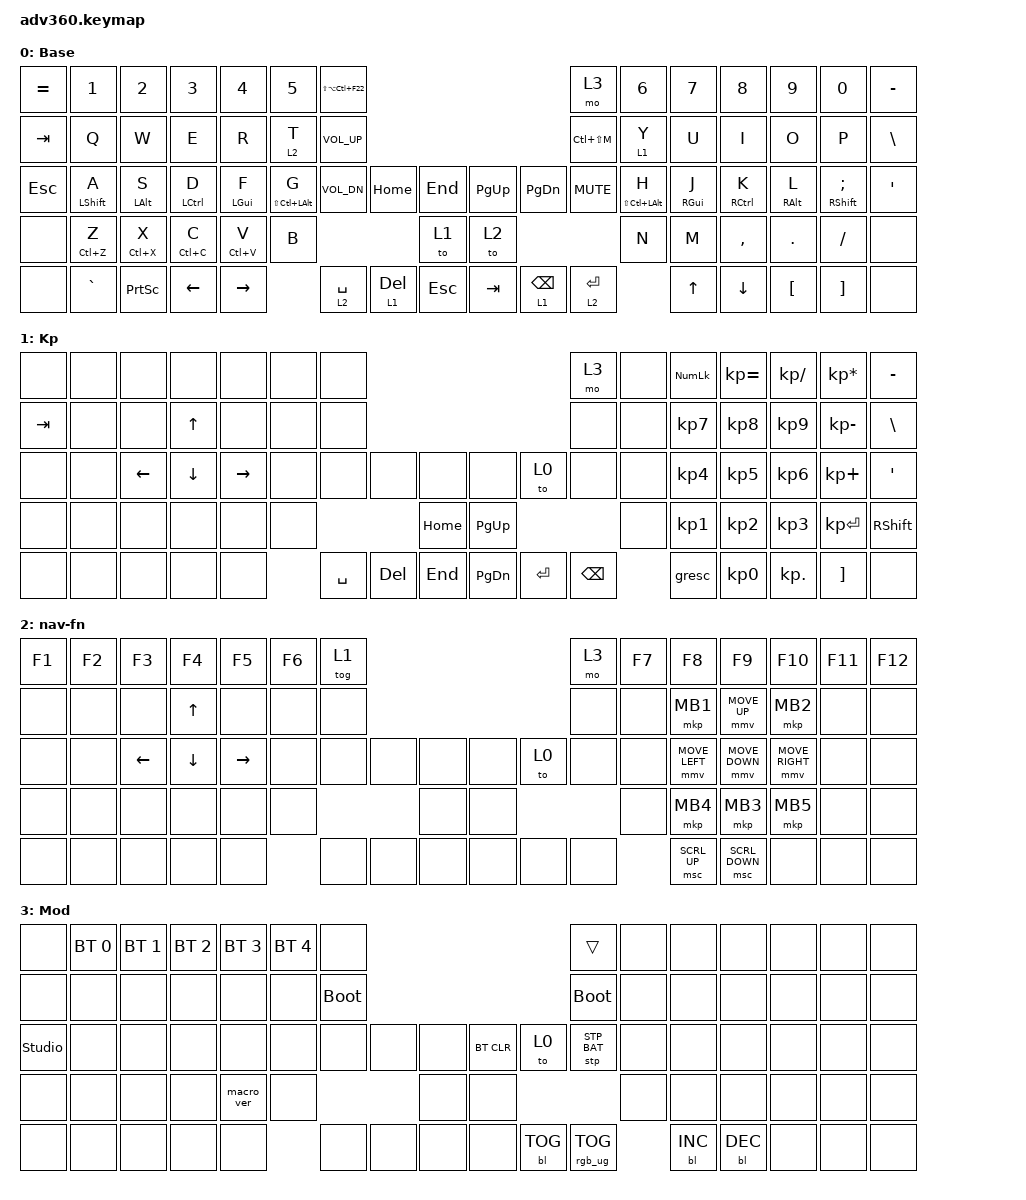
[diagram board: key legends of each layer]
#include <dt-bindings/zmk/stp.h>
#include <behaviors.dtsi>
#include <dt-bindings/zmk/backlight.h>
#include <dt-bindings/zmk/bt.h>
#include <dt-bindings/zmk/keys.h>
#include <dt-bindings/zmk/pointing.h>
#include <dt-bindings/zmk/rgb.h>

#define BASE    0
#define KEYPAD  1
#define NAV     2
#define MOD     3
#define GAMING  4
#define TT_BASE   200
#define TT_ALT    250
#define TT_PASTE  425
#define QT        175
#define MEH LS(LC(LALT))

/ {
    behaviors {
        #include "macros.dtsi"
        #include "version.dtsi"

        hm: homerow_mods {
            compatible = "zmk,behavior-hold-tap";
            #binding-cells = <2>;
            tapping-term-ms = <TT_BASE>;
            quick-tap-ms = <QT>;
            flavor = "tap-preferred";
            bindings = <&kp>, <&kp>;
        };

        hma: homerow_mods_alt {
            compatible = "zmk,behavior-hold-tap";
            #binding-cells = <2>;
            tapping-term-ms = <TT_ALT>;
            quick-tap-ms = <QT>;
            flavor = "tap-preferred";
            bindings = <&kp>, <&kp>;
        };

        hcp: clipboard_holds {
            compatible = "zmk,behavior-hold-tap";
            #binding-cells = <2>;
            tapping-term-ms = <TT_BASE>;
            quick-tap-ms = <QT>;
            flavor = "tap-preferred";
            bindings = <&kp>, <&kp>;
        };

        hcv: clipboard_paste {
            compatible = "zmk,behavior-hold-tap";
            #binding-cells = <2>;
            tapping-term-ms = <TT_PASTE>;
            quick-tap-ms = <QT>;
            flavor = "tap-preferred";
            bindings = <&kp>, <&kp>;
        };

        ltg: layer_tap_gate {
            compatible = "zmk,behavior-hold-tap";
            #binding-cells = <2>;
            tapping-term-ms = <TT_BASE>;
            quick-tap-ms = <QT>;
            flavor = "tap-preferred";
            bindings = <&mo>, <&kp>;
        };
    };

    keymap {
        compatible = "zmk,keymap";

        Base {
            display-name = "Base";
            bindings = <
&kp EQUAL  &kp N1        &kp N2           &kp N3        &kp N4        &kp N5     &kp LS(LA(LC(F22)))                                                              &mo 3          &kp N6     &kp N7      &kp N8       &kp N9       &kp N0          &kp MINUS
&kp TAB    &kp Q         &kp W            &kp E         &kp R         &ltg 2 T   &kp C_VOL_UP                                                                     &kp LC(LS(M))  &ltg 1 Y   &kp U       &kp I        &kp O        &kp P           &kp BSLH
&kp ESC    &hm LSHFT A   &hma LALT S      &hm LCTRL D   &hm LGUI F    &hm MEH G  &kp C_VOL_DN         &kp HOME      &kp END         &kp PAGE_UP  &kp PAGE_DOWN    &kp K_MUTE     &hm MEH H  &hm RGUI J  &hm RCTRL K  &hma RALT L  &hm RSHFT SEMI  &kp SQT
&none      &hcp LC(Z) Z  &hcp LC(X) X     &hcp LC(C) C  &hcv LC(V) V  &kp B                                         &to 1           &to 2                                        &kp N      &kp M       &kp COMMA    &kp DOT      &kp FSLH        &none
&none      &kp GRAVE     &kp PRINTSCREEN  &kp LEFT      &kp RIGHT                &lt 2 SPACE          &lt 1 DELETE  &kp ESCAPE      &kp TAB      &lt 1 BACKSPACE  &lt 2 ENTER               &kp UP      &kp DOWN     &kp LBKT     &kp RBKT        &none
            >;
        };

        keypad {
            display-name = "Kp";
            bindings = <
&none    &none  &none           &none           &none            &none  &none                                                   &mo 3          &none  &kp KP_NUM  &kp KP_EQUAL  &kp KP_DIVIDE  &kp KP_MULTIPLY  &kp MINUS
&kp TAB  &none  &none           &kp UP_ARROW    &none            &none  &none                                                   &none          &none  &kp KP_N7   &kp KP_N8     &kp KP_N9      &kp KP_MINUS     &kp BSLH
&none    &none  &kp LEFT_ARROW  &kp DOWN_ARROW  &kp RIGHT_ARROW  &none  &none      &none    &none         &none      &to 0      &none          &none  &kp KP_N4   &kp KP_N5     &kp KP_N6      &kp KP_PLUS      &kp SQT
&none    &none  &none           &none           &none            &none                      &kp HOME      &kp PG_UP                            &none  &kp KP_N1   &kp KP_N2     &kp KP_N3      &kp KP_ENTER     &kp RSHFT
&none    &none  &none           &none           &none                   &kp SPACE  &kp DEL  &kp END       &kp PG_DN  &kp ENTER  &kp BACKSPACE         &gresc      &kp KP_N0     &kp KP_DOT     &kp RBKT         &none
            >;
        };

        nav-fn {
            display-name = "nav-fn";
            bindings = <
&kp F1  &kp F2  &kp F3    &kp F4        &kp F5     &kp F6  &tog 1                                  &mo 3  &kp F7  &kp F8          &kp F9          &kp F10          &kp F11  &kp F12
&none   &none   &none     &kp UP_ARROW  &none      &none   &none                                   &none  &none   &mkp MB1        &mmv MOVE_UP    &mkp MB2         &none    &none
&none   &none   &kp LEFT  &kp DOWN      &kp RIGHT  &none   &none   &none  &none      &none  &to 0  &none  &none   &mmv MOVE_LEFT  &mmv MOVE_DOWN  &mmv MOVE_RIGHT  &none    &none
&none   &none   &none     &none         &none      &none                  &none      &none                &none   &mkp MB4        &mkp MB3        &mkp MB5         &none    &none
&none   &none   &none     &none         &none              &none   &none  &none      &none  &none  &none          &msc SCRL_UP    &msc SCRL_DOWN  &none            &none    &none
            >;
        };

        mod {
            display-name = "Mod";
            bindings = <
&none           &bt BT_SEL 0  &bt BT_SEL 1  &bt BT_SEL 2  &bt BT_SEL 3  &bt BT_SEL 4  &none                                                  &trans           &none  &none       &none       &none  &none  &none
&none           &none         &none         &none         &none         &none         &bootloader                                            &bootloader      &none  &none       &none       &none  &none  &none
&studio_unlock  &none         &none         &none         &none         &none         &none        &none  &none      &bt BT_CLR  &to 0       &stp STP_BAT     &none  &none       &none       &none  &none  &none
&none           &none         &none         &none         &macro_ver    &none                             &none      &none                                    &none  &none       &none       &none  &none  &none
&none           &none         &none         &none         &none                       &none        &none  &none      &none       &bl BL_TOG  &rgb_ug RGB_TOG         &bl BL_INC  &bl BL_DEC  &none  &none  &none
            >;
        };
    };
};

&lt {
    quick-tap-ms = <175>;
    flavor = "tap-preferred";
};
